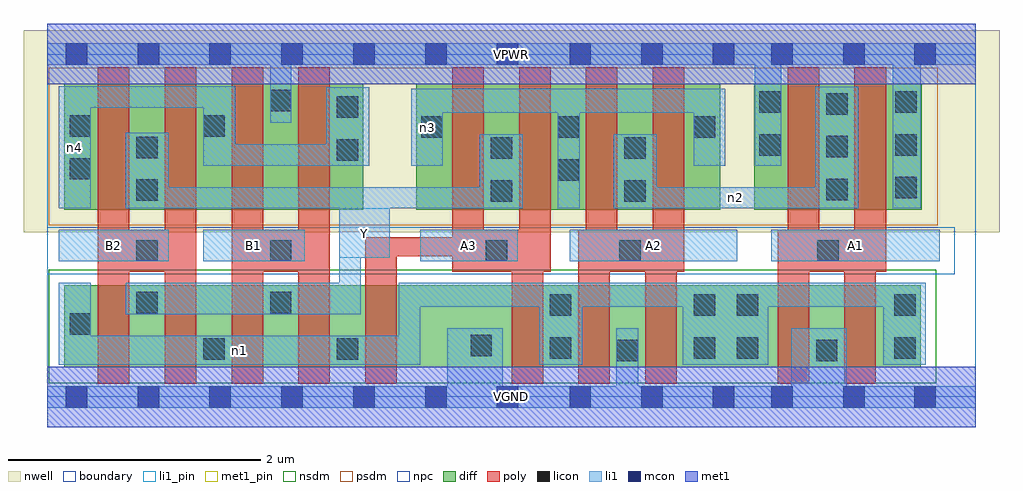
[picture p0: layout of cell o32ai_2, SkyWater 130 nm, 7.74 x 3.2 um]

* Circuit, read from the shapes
.subckt o32ai_2 A1 A2 A3 B1 B2 VGND VPWR Y n1 n2 n3 n4
XM1 Y B2 n1 VSUBS sky130_fd_pr__nfet_01v8 w=0.65 l=0.25 m=2
XM2 Y B1 n1 VSUBS sky130_fd_pr__nfet_01v8 w=0.65 l=0.25 m=2
XM3 VGND A3 n1 VSUBS sky130_fd_pr__nfet_01v8 w=0.65 l=0.25 m=2
XM4 VGND A2 n1 VSUBS sky130_fd_pr__nfet_01v8 w=0.65 l=0.25 m=2
XM5 VGND A1 n1 VSUBS sky130_fd_pr__nfet_01v8 w=0.65 l=0.25 m=2
XM6 Y B2 n4 n5 sky130_fd_pr__pfet_01v8 w=1 l=0.25 m=2
XM7 VPWR B1 n4 n5 sky130_fd_pr__pfet_01v8 w=1 l=0.25 m=2
XM8 Y A3 n3 n5 sky130_fd_pr__pfet_01v8 w=1 l=0.25 m=2
XM9 n2 A2 n3 n5 sky130_fd_pr__pfet_01v8 w=1 l=0.25 m=2
XM10 n2 A1 VPWR n5 sky130_fd_pr__pfet_01v8 w=1 l=0.25 m=2
.ends

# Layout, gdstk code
import gdstk
lib = gdstk.Library(unit=1e-6, precision=1e-09)
def R(c, l, rs):  # rectangles x0, y0, x1, y1
    for r in rs: c.add(gdstk.rectangle(r[:2], r[2:], *l))
def A(c, l, x, y, w, h, nx, ny, dx, dy):  # array of equal rectangles
    R(c, l, [(x+i*dx, y+j*dy, x+i*dx+w, y+j*dy+h) for i in range(nx) for j in range(ny)])
nwell = (64, 20)
diff = (65, 20)
poly = (66, 20)
licon = (66, 44)
li1_pin = (67, 16)
li1 = (67, 20)
mcon = (67, 44)
met1_pin = (68, 16)
met1 = (68, 20)
nsdm = (93, 44)
psdm = (94, 20)
npc = (95, 20)
boundary = (235, 4)

o32ai_2 = lib.new_cell('o32ai_2')
R(o32ai_2, nwell, [(-0.19,1.305,7.55,2.91), (0,1.305,7.36,2.91)])
R(o32ai_2, diff, [(0.135,0.235,6.925,0.885), (0.135,1.485,2.505,2.485), (2.925,1.485,5.335,2.485), (5.605,1.485,6.935,2.485)])
A(o32ai_2, poly, 0.4, 0.105, 0.25, 2.51, 4, 1, 0.53, 0)
A(o32ai_2, poly, 3.68, 0.105, 0.25, 1.22, 3, 1, 0.53, 0)
A(o32ai_2, poly, 3.21, 0.995, 0.25, 1.62, 4, 1, 0.53, 0)
R(o32ai_2, poly, [(2.52,0.105,2.77,1.265), (5.79,0.105,6.04,1.325), (6.32,0.105,6.57,1.325), (0.4,0.995,1.18,1.325), (1.46,0.995,2.24,1.325), (3.21,0.995,3.99,1.325), (4.21,0.995,5.05,1.325), (5.79,0.995,6.65,1.325), (5.87,0.995,6.12,2.615), (6.4,0.995,6.65,2.615), (2.52,1.115,3.99,1.265)])
A(o32ai_2, licon, 6.175, 1.56, 0.17, 0.17, 1, 3, 0, 0.34)
A(o32ai_2, licon, 6.725, 1.575, 0.17, 0.17, 1, 3, 0, 0.34)
A(o32ai_2, licon, 2.965, 2.055, 0.17, 0.17, 3, 1, 1.08, 0)
R(o32ai_2, licon, [(4.515,0.285,4.685,0.455), (6.095,0.285,6.265,0.455), (1.235,0.295,1.405,0.465), (2.295,0.295,2.465,0.465), (3.985,0.305,4.155,0.475), (5.125,0.305,5.295,0.475), (5.465,0.305,5.635,0.475), (6.715,0.305,6.885,0.475), (3.355,0.325,3.525,0.495), (0.175,0.495,0.345,0.665), (3.985,0.645,4.155,0.815), (5.125,0.645,5.295,0.815), (5.465,0.645,5.635,0.815), (6.715,0.645,6.885,0.815), (0.705,0.665,0.875,0.835), (1.765,0.665,1.935,0.835), (0.705,1.075,0.875,1.245), (1.765,1.075,1.935,1.245), (3.475,1.075,3.645,1.245), (4.535,1.075,4.705,1.245), (6.105,1.075,6.275,1.245), (3.515,1.55,3.685,1.72), (4.575,1.55,4.745,1.72), (0.705,1.555,0.875,1.725), (4.045,1.715,4.215,1.885), (0.175,1.725,0.345,1.895), (2.295,1.875,2.465,2.045), (3.515,1.89,3.685,2.06), (4.575,1.89,4.745,2.06), (0.705,1.895,0.875,2.065), (5.645,1.915,5.815,2.085), (0.175,2.065,0.345,2.235), (1.235,2.065,1.405,2.235), (2.295,2.215,2.465,2.385), (5.645,2.255,5.815,2.425), (1.765,2.265,1.935,2.435)])
R(o32ai_2, li1_pin, [(0.09,1.075,0.96,1.325), (1.235,1.075,2.04,1.325), (2.955,1.075,3.73,1.325), (4.14,1.075,5.47,1.325), (5.74,1.075,7.075,1.325), (2.315,1.105,2.715,1.495)])
R(o32ai_2, li1, [(0,-0.085,7.36,0.085), (3.17,-0.085,3.61,0.545), (4.51,-0.085,4.685,0.545), (5.9,-0.085,6.34,0.545), (0.09,0.255,2.955,0.485), (0.09,0.255,0.345,0.905), (2.785,0.255,2.955,0.905), (3.9,0.255,4.24,0.905), (5.04,0.255,5.715,0.905), (6.63,0.255,6.965,0.905), (0.62,0.655,2.485,0.905), (2.315,0.655,2.485,1.665), (2.785,0.715,6.965,0.905), (0.09,1.075,0.96,1.325), (1.235,1.075,2.04,1.325), (2.955,1.075,3.73,1.325), (4.14,1.075,5.47,1.325), (5.74,1.075,7.075,1.325), (2.315,1.105,2.715,1.495), (0.09,1.495,0.345,2.465), (0.62,1.495,3.77,1.665), (0.62,1.495,0.96,2.095), (3.43,1.495,3.77,2.085), (4.045,1.495,4.22,2.445), (4.49,1.495,4.83,2.085), (4.49,1.495,6.43,1.665), (6.09,1.495,6.43,2.46), (6.705,1.495,6.925,2.805), (1.235,1.835,1.49,2.465), (1.235,1.835,2.55,2.005), (2.21,1.835,2.55,2.455), (2.885,1.835,3.135,2.445), (5.125,1.835,5.375,2.445), (5.61,1.835,5.82,2.805), (1.765,2.175,1.935,2.805), (2.885,2.255,5.375,2.445), (0.09,2.295,1.49,2.465), (0,2.635,7.36,2.805)])
A(o32ai_2, mcon, 0.145, -0.085, 0.17, 0.17, 7, 2, 0.57, 2.72)
R(o32ai_2, mcon, [(4.14,-0.085,4.31,0.085), (4.71,-0.085,4.88,0.085), (5.275,-0.085,5.445,0.085), (5.74,-0.085,5.91,0.085), (6.31,-0.085,6.48,0.085), (6.875,-0.085,7.045,0.085), (4.14,2.635,4.31,2.805), (4.71,2.635,4.88,2.805), (5.275,2.635,5.445,2.805), (5.74,2.635,5.91,2.805), (6.31,2.635,6.48,2.805), (6.875,2.635,7.045,2.805)])
R(o32ai_2, met1_pin, [(0,-0.24,7.36,0.24), (0,2.48,7.36,2.96)])
R(o32ai_2, met1, [(0,-0.24,7.36,0.24), (0,2.48,7.36,2.96)])
R(o32ai_2, nsdm, [(0.01,0.11,7.05,1.01)])
R(o32ai_2, psdm, [(0.01,1.36,7.06,2.61)])
R(o32ai_2, npc, [(0,0.975,7.195,1.345)])
R(o32ai_2, boundary, [(0,0,7.36,2.72)])
o32ai_2.add(gdstk.Label('A1', (6.407,1.2), layer=67, texttype=5))
o32ai_2.add(gdstk.Label('A2', (4.805,1.2), layer=67, texttype=5))
o32ai_2.add(gdstk.Label('A3', (3.342,1.2), layer=67, texttype=5))
o32ai_2.add(gdstk.Label('B1', (1.637,1.2), layer=67, texttype=5))
o32ai_2.add(gdstk.Label('B2', (0.525,1.2), layer=67, texttype=5))
o32ai_2.add(gdstk.Label('Y', (2.515,1.3), layer=67, texttype=5))
o32ai_2.add(gdstk.Label('n1', (1.522,0.37), layer=67, texttype=5))
o32ai_2.add(gdstk.Label('n3', (3.01,2.14), layer=67, texttype=5))
o32ai_2.add(gdstk.Label('n2', (5.46,1.58), layer=67, texttype=5))
o32ai_2.add(gdstk.Label('n4', (0.217,1.98), layer=67, texttype=5))
o32ai_2.add(gdstk.Label('VPWR', (3.68,2.72), layer=68, texttype=5))
o32ai_2.add(gdstk.Label('VGND', (3.68,0), layer=68, texttype=5))
o32ai_2.add(gdstk.Label('A1', (6.407,1.2), layer=67, texttype=16))
o32ai_2.add(gdstk.Label('A2', (4.805,1.2), layer=67, texttype=16))
o32ai_2.add(gdstk.Label('A3', (3.342,1.2), layer=67, texttype=16))
o32ai_2.add(gdstk.Label('B1', (1.637,1.2), layer=67, texttype=16))
o32ai_2.add(gdstk.Label('B2', (0.525,1.2), layer=67, texttype=16))
o32ai_2.add(gdstk.Label('Y', (2.515,1.3), layer=67, texttype=16))
o32ai_2.add(gdstk.Label('VPWR', (3.68,2.72), layer=68, texttype=16))
o32ai_2.add(gdstk.Label('VGND', (3.68,0), layer=68, texttype=16))

lib.write_gds('o32ai_2.gds')
